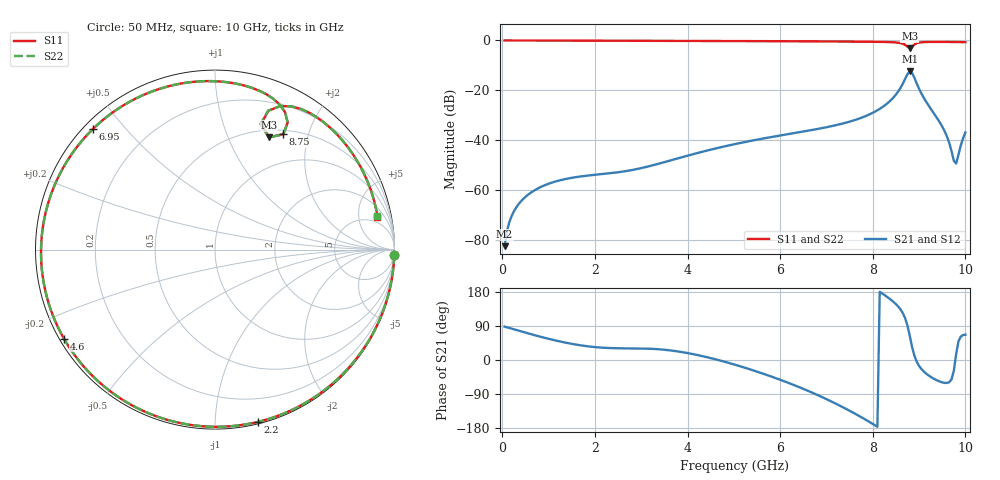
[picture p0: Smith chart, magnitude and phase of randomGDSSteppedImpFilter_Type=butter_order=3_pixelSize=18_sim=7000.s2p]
! freq	dB(S11)	phase(S11)	dB(S12)	phase(S12)
!  dB(S21)	phase(S21)	dB(S22)	phase(S22)
!S-par simulation data
#  GHz  S  DB  R 50
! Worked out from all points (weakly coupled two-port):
!   200 points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, 50 MHz to 10 GHz, reference 50 ohm
!   highest |S21| = -12.36 dB at 8.8 GHz (marker M1); lowest = -82.3 dB at 50 MHz (marker M2)
!   lowest |S11| = -3.2 dB at 8.8 GHz (marker M3), VSWR 5.56, Z = 29.4 + j71.1 ohm
!   |S11| at or under -10 dB: nowhere
!   |S22| runs from -3.2 to 0.0 dB; largest |S21 - S12| = 0
!   S11 on the Smith chart (normalised r, x): 50 MHz: 1, -63; 2.2 GHz: 0.01, -1.28; 4.6 GHz: 0.01, -0.27; 6.95 GHz: 0.03, +0.41; 8.75 GHz: 0.55, +1.61; 10 GHz: 3.42, +8.58
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0.05  -0.00 -1.8  -82.29 88.0  -82.29 88.0  -0.00 -1.8
0.25  -0.01 -9.0  -68.39 81.0  -68.39 81.0  -0.01 -9.0
0.55  -0.02 -19.7  -61.80 70.5  -61.80 70.5  -0.02 -19.7
1.05  -0.04 -37.3  -56.99 54.4  -56.99 54.4  -0.04 -37.3
1.75  -0.08 -61.2  -54.27 37.6  -54.27 37.6  -0.08 -61.2
2.2  -0.09 -76.0  -53.38 32.2  -53.38 32.2  -0.09 -76.0
3.4  -0.14 -113.6  -49.20 28.2  -49.20 28.2  -0.14 -113.6
4.6  -0.20 -149.5  -43.23 2.0  -43.23 2.0  -0.20 -149.5
5.05  -0.23 -163.0  -41.35 -13.3  -41.35 -13.3  -0.23 -163.0
5.9  -0.29 170.8  -38.34 -47.6  -38.34 -47.6  -0.29 170.8
6.7  -0.36 144.3  -35.78 -86.6  -35.78 -86.6  -0.36 144.3
6.95  -0.39 135.5  -34.90 -100.4  -34.90 -100.4  -0.39 135.5
7.7  -0.48 107.2  -31.29 -147.3  -31.29 -147.3  -0.48 107.2
8.35  -0.65 79.3  -24.60 163.0  -24.60 163.0  -0.65 79.3
8.75  -2.53 59.4  -13.45 90.5  -13.45 90.5  -2.55 59.4
8.8  -3.16 64.3  -12.36 63.1  -12.36 63.1  -3.19 64.3
8.9  -1.62 68.9  -15.01 10.7  -15.01 10.7  -1.64 69.1
9.05  -0.74 58.5  -21.21 -23.8  -21.21 -23.8  -0.74 58.6
9.55  -0.60 32.5  -36.26 -60.3  -36.26 -60.3  -0.60 32.6
9.75  -0.63 23.1  -48.09 -28.4  -48.09 -28.4  -0.63 23.1
9.8  -0.64 20.8  -49.24 15.3  -49.24 15.3  -0.64 20.8
10  -0.69 11.5  -36.80 66.8  -36.80 66.8  -0.69 11.6
